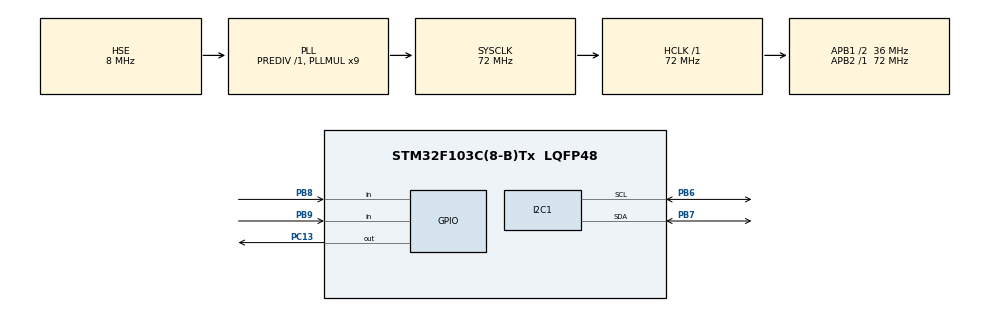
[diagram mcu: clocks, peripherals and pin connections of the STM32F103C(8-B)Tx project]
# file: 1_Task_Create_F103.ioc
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FREERTOS.INCLUDE_xTaskAbortDelay=1
FREERTOS.Tasks01=defaultTask,24,128,StartDefaultTask,Default,NULL,Dynamic,NULL,NULL;OLEDTask,24,128,OLED_Task,Default,NULL,Dynamic,NULL,NULL;LEDTask,24,128,LED_Task,Default,NULL,Dynamic,NULL,NULL;SuspendTask,8,128,Suspend_Task,Default,NULL,Dynamic,NULL,NULL
Mcu.Family=STM32F1
Mcu.Name=STM32F103C(8-B)Tx
Mcu.Package=LQFP48
NVIC.I2C1_ER_IRQn=true\:5\:0\:false\:false\:true\:true\:true\:true\:true
NVIC.I2C1_EV_IRQn=true\:5\:0\:false\:false\:true\:true\:true\:true\:true
NVIC.PriorityGroup=NVIC_PRIORITYGROUP_4
NVIC.TIM1_UP_IRQn=true\:15\:0\:false\:false\:true\:false\:false\:true\:true
NVIC.TimeBase=TIM1_UP_IRQn
NVIC.TimeBaseIP=TIM1
PA13.Mode=Serial_Wire
PA13.Signal=SYS_JTMS-SWDIO
PA14.Mode=Serial_Wire
PA14.Signal=SYS_JTCK-SWCLK
PB6.Mode=I2C
PB6.Signal=I2C1_SCL
PB7.Mode=I2C
PB7.Signal=I2C1_SDA
PB8.GPIO_PuPd=GPIO_PULLUP
PB8.Signal=GPIO_Input
PB9.GPIO_PuPd=GPIO_PULLUP
PB9.Signal=GPIO_Input
PC13-TAMPER-RTC.GPIO_PuPd=GPIO_PULLDOWN
PC13-TAMPER-RTC.Signal=GPIO_Output
PD0-OSC_IN.Mode=HSE-External-Oscillator
PD0-OSC_IN.Signal=RCC_OSC_IN
PD1-OSC_OUT.Mode=HSE-External-Oscillator
PD1-OSC_OUT.Signal=RCC_OSC_OUT
ProjectManager.HeapSize=0x200
ProjectManager.StackSize=0x400
ProjectManager.TargetToolchain=Makefile
RCC.AHBFreq_Value=72000000
RCC.APB1CLKDivider=RCC_HCLK_DIV2
RCC.APB1Freq_Value=36000000
RCC.APB1TimFreq_Value=72000000
RCC.APB2Freq_Value=72000000
RCC.APB2TimFreq_Value=72000000
RCC.HCLKFreq_Value=72000000
RCC.PLLMUL=RCC_PLL_MUL9
RCC.PLLSourceVirtual=RCC_PLLSOURCE_HSE
RCC.SYSCLKFreq_VALUE=72000000
RCC.SYSCLKSource=RCC_SYSCLKSOURCE_PLLCLK
RCC.USBFreq_Value=72000000
VP_FREERTOS_VS_CMSIS_V2.Mode=CMSIS_V2
VP_SYS_VS_tim1.Mode=TIM1
board=custom

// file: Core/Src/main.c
/* USER CODE BEGIN Header */
/**
  ******************************************************************************
  * @file           : main.c
  * @brief          : Main program body
  ******************************************************************************
  * @attention
  *
  * Copyright (c) 2024 STMicroelectronics.
  * All rights reserved.
  *
  * This software is licensed under terms that can be found in the LICENSE file
  * in the root directory of this software component.
  * If no LICENSE file comes with this software, it is provided AS-IS.
  *
  ******************************************************************************
  */
/* USER CODE END Header */
#include "main.h"
#include "cmsis_os.h"
#include "i2c.h"
#include "gpio.h"

void SystemClock_Config(void);
void MX_FREERTOS_Init(void);

int main(void)
{

  /* MCU Configuration--------------------------------------------------------*/

  /* Reset of all peripherals, Initializes the Flash interface and the Systick. */
  HAL_Init();

  /* Configure the system clock */
  SystemClock_Config();

  /* Initialize all configured peripherals */
  MX_GPIO_Init();
  MX_I2C1_Init();

  /* Init scheduler */
  osKernelInitialize();  /* Call init function for freertos objects (in freertos.c) */
  MX_FREERTOS_Init();

  /* Start scheduler */
  osKernelStart();

  /* We should never get here as control is now taken by the scheduler */
  /* Infinite loop */
  while (1)
  {

  }
}

void SystemClock_Config(void)
{
  RCC_OscInitTypeDef RCC_OscInitStruct = {0};
  RCC_ClkInitTypeDef RCC_ClkInitStruct = {0};

  /** Initializes the RCC Oscillators according to the specified parameters
  * in the RCC_OscInitTypeDef structure.
  */
  RCC_OscInitStruct.OscillatorType = RCC_OSCILLATORTYPE_HSE;
  RCC_OscInitStruct.HSEState = RCC_HSE_ON;
  RCC_OscInitStruct.HSEPredivValue = RCC_HSE_PREDIV_DIV1;
  RCC_OscInitStruct.HSIState = RCC_HSI_ON;
  RCC_OscInitStruct.PLL.PLLState = RCC_PLL_ON;
  RCC_OscInitStruct.PLL.PLLSource = RCC_PLLSOURCE_HSE;
  RCC_OscInitStruct.PLL.PLLMUL = RCC_PLL_MUL9;
  if (HAL_RCC_OscConfig(&RCC_OscInitStruct) != HAL_OK)
  {
    Error_Handler();
  }

  /** Initializes the CPU, AHB and APB buses clocks
  */
  RCC_ClkInitStruct.ClockType = RCC_CLOCKTYPE_HCLK|RCC_CLOCKTYPE_SYSCLK
                              |RCC_CLOCKTYPE_PCLK1|RCC_CLOCKTYPE_PCLK2;
  RCC_ClkInitStruct.SYSCLKSource = RCC_SYSCLKSOURCE_PLLCLK;
  RCC_ClkInitStruct.AHBCLKDivider = RCC_SYSCLK_DIV1;
  RCC_ClkInitStruct.APB1CLKDivider = RCC_HCLK_DIV2;
  RCC_ClkInitStruct.APB2CLKDivider = RCC_HCLK_DIV1;

  if (HAL_RCC_ClockConfig(&RCC_ClkInitStruct, FLASH_LATENCY_2) != HAL_OK)
  {
    Error_Handler();
  }
}

void HAL_TIM_PeriodElapsedCallback(TIM_HandleTypeDef *htim)
{
  if (htim->Instance == TIM1) {
    HAL_IncTick();
  }
}

void Error_Handler(void)
{
  __disable_irq();
  while (1)
  {
  }
}

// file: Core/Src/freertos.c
/* USER CODE BEGIN Header */
/**
  ******************************************************************************
  * File Name          : freertos.c
  * Description        : Code for freertos applications
  ******************************************************************************
  * @attention
  *
  * Copyright (c) 2024 STMicroelectronics.
  * All rights reserved.
  *
  * This software is licensed under terms that can be found in the LICENSE file
  * in the root directory of this software component.
  * If no LICENSE file comes with this software, it is provided AS-IS.
  *
  ******************************************************************************
  */
/* USER CODE END Header */

#include "FreeRTOS.h"
#include "task.h"
#include "main.h"
#include "cmsis_os.h"

/* Definitions for defaultTask */
osThreadId_t defaultTaskHandle;
const osThreadAttr_t defaultTask_attributes = {
  .name = "defaultTask",
  .stack_size = 128 * 4,
  .priority = (osPriority_t) osPriorityNormal,
};
/* Definitions for OLEDTask */
osThreadId_t OLEDTaskHandle;
const osThreadAttr_t OLEDTask_attributes = {
  .name = "OLEDTask",
  .stack_size = 128 * 4,
  .priority = (osPriority_t) osPriorityNormal,
};
/* Definitions for LEDTask */
osThreadId_t LEDTaskHandle;
const osThreadAttr_t LEDTask_attributes = {
  .name = "LEDTask",
  .stack_size = 128 * 4,
  .priority = (osPriority_t) osPriorityNormal,
};
/* Definitions for SuspendTask */
osThreadId_t SuspendTaskHandle;
const osThreadAttr_t SuspendTask_attributes = {
  .name = "SuspendTask",
  .stack_size = 128 * 4,
  .priority = (osPriority_t) osPriorityLow,
};

void StartDefaultTask(void *argument);
void OLED_Task(void *argument);
void LED_Task(void *argument);
void Suspend_Task(void *argument);

void MX_FREERTOS_Init(void); /* (MISRA C 2004 rule 8.1) */

void MX_FREERTOS_Init(void) {

  /* Create the thread(s) */
  /* creation of defaultTask */
  defaultTaskHandle = osThreadNew(StartDefaultTask, NULL, &defaultTask_attributes);

  /* creation of OLEDTask */
  OLEDTaskHandle = osThreadNew(OLED_Task, NULL, &OLEDTask_attributes);

  /* creation of LEDTask */
  LEDTaskHandle = osThreadNew(LED_Task, NULL, &LEDTask_attributes);

  /* creation of SuspendTask */
  SuspendTaskHandle = osThreadNew(Suspend_Task, NULL, &SuspendTask_attributes);

}

void StartDefaultTask(void *argument)
{
  for(;;)
  {
    osDelay(1);
  }
}

void OLED_Task(void *argument)
{
  /* USER CODE BEGIN OLED_Task */
  /* Infinite loop */
  for(;;)
  {
    OLED_ShowNum(5,1,2024,4,16);
    osDelay(500);
    OLED_On();
    osDelay(300);
    OLED_Clear();
    osDelay(300);
  }
  /* USER CODE END OLED_Task */
}

void LED_Task(void *argument)
{
  /* USER CODE BEGIN LED_Task */
  /* Infinite loop */

  uint32_t last_wake_time = osKernelGetTickCount(); // 获取当前系统节拍时间
  const uint32_t interval_ms = 1000; // 打印间隔，单位为毫秒

  for(;;)
  {
    //osDelay(500);
   	HAL_GPIO_TogglePin(GPIOC,GPIO_PIN_13);
    osDelayUntil(last_wake_time + interval_ms);
    last_wake_time = osKernelGetTickCount(); // 更新上次唤醒时间
    }
  /* USER CODE END LED_Task */
}

void Suspend_Task(void *argument)
{
  /* USER CODE BEGIN Suspend_Task */
  /* Infinite loop */
  for(;;)
  {
    if(HAL_GPIO_ReadPin(GPIOB,GPIO_PIN_9) == 0)
    {
      osThreadSuspend(LEDTaskHandle);
    }
    if(HAL_GPIO_ReadPin(GPIOB,GPIO_PIN_9) == 0)
    {
      osThreadResume(LEDTaskHandle);
    }
    // eTaskState currentState = eTaskGetState(LEDTaskHandle);
    // OLED_ShowString(85,4,(char*)currentState,15);
    osDelay(1);
  }
  /* USER CODE END Suspend_Task */
}
